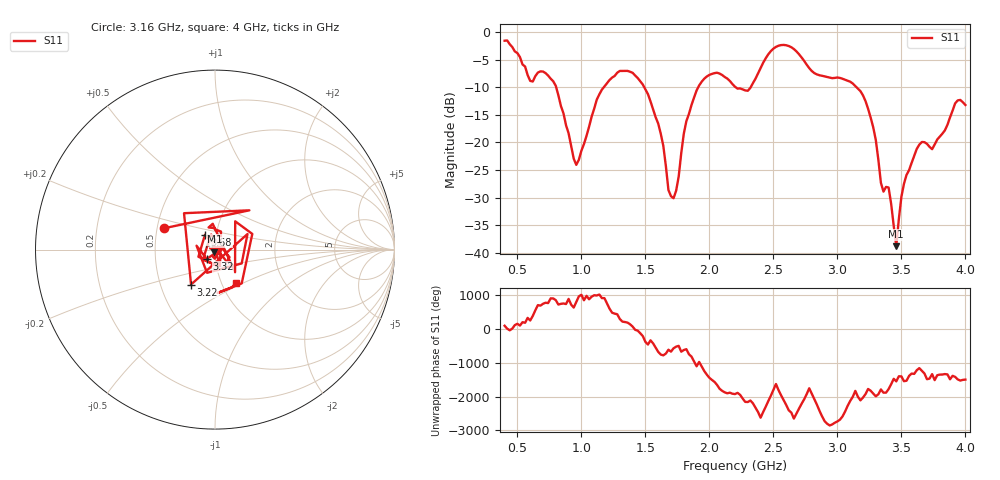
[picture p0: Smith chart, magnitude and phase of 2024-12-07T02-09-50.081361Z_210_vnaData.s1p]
!Created with skrf (http://scikit-rf.org).
# Hz S RI R 50.0
!freq ReS11 ImS11
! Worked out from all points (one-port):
!   181 points, 400 MHz to 4 GHz, reference 50 ohm
!   lowest |S11| = -38.8 dB at 3.46 GHz (marker M1), VSWR 1.02, Z = 49.6 - j1.07 ohm
!   |S11| at or under -10 dB: 802.7 MHz to 1.176 GHz (373.1 MHz wide, 37.7 % of centre); 1.491 GHz to 1.913 GHz (422.4 MHz wide, 24.8 % of centre); 3.148 GHz to end of sweep (the widest 3 of 4)
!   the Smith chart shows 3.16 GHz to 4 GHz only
!   S11 on the Smith chart (normalised r, x): 3.16 GHz: 0.55, +0.14; 3.22 GHz: 0.71, -0.29; 3.32 GHz: 0.91, -0.10; 3.68 GHz: 0.88, +0.15; 4 GHz: 1.17, -0.45
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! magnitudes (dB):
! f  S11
! 400 MHz  -1.6
! 600 MHz  -8.9
! 780 MHz  -8.9
! 860 MHz  -14.8
! 960 MHz  -24.1
! 1.12 GHz  -12.3
! 1.3 GHz  -7.1
! 1.52 GHz  -11.3
! 1.62 GHz  -18.4
! 1.7 GHz  -29.8
! 1.76 GHz  -26.2
! 1.82 GHz  -16.2
! 1.92 GHz  -9.7
! 2.2 GHz  -9.9
! 2.66 GHz  -3.1
! 3.1 GHz  -9.0
! 3.16 GHz  -10.3
! 3.22 GHz  -12.5
! 3.32 GHz  -23.2
! 3.36 GHz  -28.9
! 3.4 GHz  -28.2
! 3.46 GHz  -38.8
! 3.5 GHz  -29.9
! 3.56 GHz  -25.0
! 3.68 GHz  -20.0
! 3.74 GHz  -21.2
! 3.92 GHz  -12.9
! 4 GHz  -13.2
